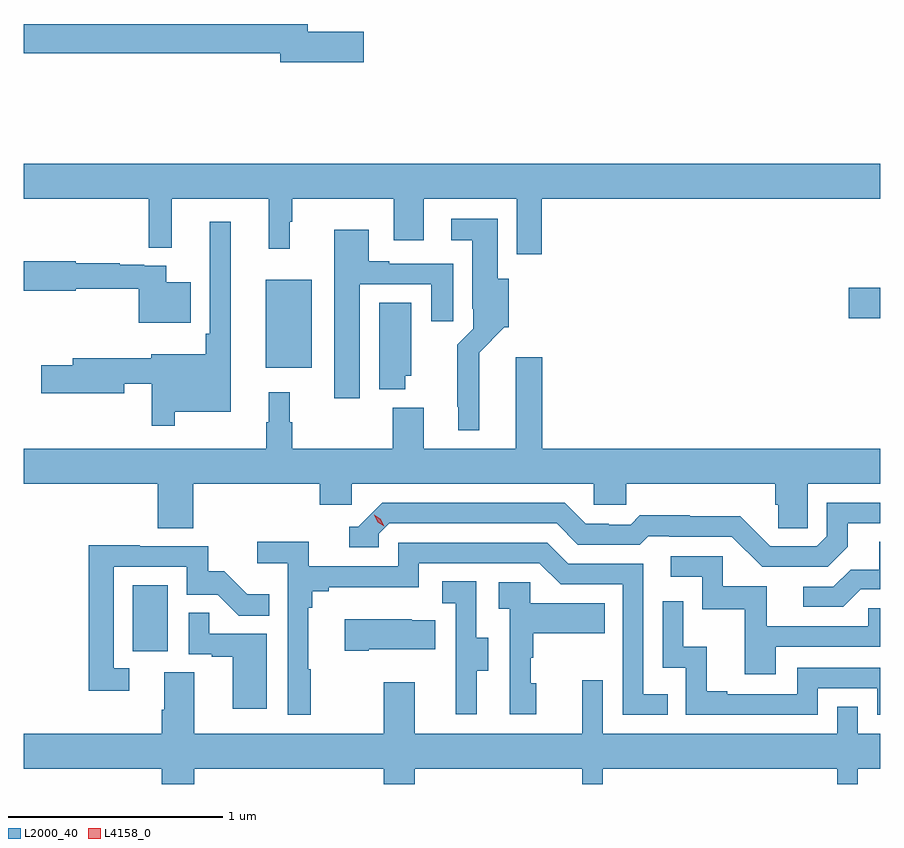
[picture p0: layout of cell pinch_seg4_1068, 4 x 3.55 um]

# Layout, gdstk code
import gdstk
lib = gdstk.Library(unit=1e-6, precision=1e-09)
def R(c, l, rs):  # rectangles x0, y0, x1, y1
    for r in rs: c.add(gdstk.rectangle(r[:2], r[2:], *l))
def P(c, l, *ps):  # polygons
    for p in ps: c.add(gdstk.Polygon(p, *l))
L2000_40 = (2000, 40)
L4158_0 = (4158, 0)

pinch_seg4_1068 = lib.new_cell('pinch_seg4_1068')
R(pinch_seg4_1068, L2000_40, [(875.498,750.75,875.662,751.057), (876.119,752.075,876.334,752.485), (878.844,752.306,878.99,752.448)])
P(pinch_seg4_1068, L2000_40, [(876.577,753.644),(876.316,753.644),(876.316,753.68),(874.99,753.68),(874.99,753.544),(876.188,753.544),(876.188,753.502),(876.577,753.502)],
  [(877.409,752.864),(878.99,752.864),(878.99,753.028),(874.99,753.028),(874.99,752.864),(875.572,752.864),(875.572,752.635),(875.681,752.635),(875.681,752.864),(876.134,752.864),(876.134,752.631),(876.233,752.631),(876.233,752.756),(876.244,752.756),(876.244,752.864),(876.719,752.864),(876.719,752.67),(876.859,752.67),(876.859,752.864),(877.293,752.864),(877.293,752.604),(877.409,752.604)],
  [(877.117,752.144),(877.235,752.262),(877.255,752.262),(877.255,752.49),(877.204,752.49),(877.204,752.77),(876.987,752.77),(876.987,752.669),(877.085,752.669),(877.085,752.35),(877.089,752.35),(877.089,752.256),(877.015,752.182),(877.015,751.891),(877.019,751.891),(877.019,751.781),(877.117,751.781)],
  [(875.695,751.868),(875.956,751.868),(875.956,752.755),(875.859,752.755),(875.859,752.233),(875.839,752.233),(875.839,752.137),(875.585,752.137),(875.585,752.119),(875.219,752.119),(875.219,752.085),(875.07,752.085),(875.07,751.955),(875.458,751.955),(875.458,751.998),(875.586,751.998),(875.586,751.803),(875.695,751.803)],
  [(876.559,752.463),(876.893,752.463),(876.893,752.292),(876.997,752.292),(876.997,752.559),(876.697,752.559),(876.697,752.572),(876.601,752.572),(876.601,752.719),(876.44,752.719),(876.44,751.932),(876.559,751.932)],
  [(875.77,752.473),(875.656,752.473),(875.656,752.55),(875.552,752.55),(875.552,752.556),(875.438,752.556),(875.438,752.563),(875.232,752.563),(875.232,752.571),(874.99,752.571),(874.99,752.434),(875.232,752.434),(875.232,752.442),(875.527,752.442),(875.527,752.285),(875.77,752.285)],
  [(876.772,752.037),(876.799,752.037),(876.799,752.378),(876.65,752.378),(876.65,751.973),(876.772,751.973)],
  [(875.78,751.532),(876.371,751.532),(876.371,751.434),(876.522,751.434),(876.522,751.532),(877.653,751.532),(877.653,751.434),(877.803,751.434),(877.803,751.532),(878.501,751.532),(878.501,751.434),(878.515,751.434),(878.515,751.324),(878.652,751.324),(878.652,751.532),(878.99,751.532),(878.99,751.696),(877.412,751.696),(877.412,752.122),(877.289,752.122),(877.289,751.696),(876.859,751.696),(876.859,751.888),(876.712,751.888),(876.712,751.696),(876.244,751.696),(876.244,751.82),(876.233,751.82),(876.233,751.96),(876.134,751.96),(876.134,751.82),(876.123,751.82),(876.123,751.696),(874.99,751.696),(874.99,751.532),(875.615,751.532),(875.615,751.324),(875.78,751.324)],
  [(878.839,751.237),(878.839,751.347),(878.99,751.347),(878.99,751.443),(878.742,751.443),(878.742,751.287),(878.694,751.239),(878.478,751.239),(878.336,751.381),(878.1,751.381),(878.1,751.384),(877.867,751.384),(877.825,751.341),(877.722,751.341),(877.722,751.344),(877.615,751.344),(877.516,751.443),(876.663,751.443),(876.552,751.332),(876.509,751.332),(876.509,751.236),(876.648,751.236),(876.648,751.299),(876.696,751.347),(877.479,751.347),(877.578,751.248),(877.867,751.248),(877.906,751.287),(878.005,751.287),(878.005,751.284),(878.298,751.284),(878.439,751.143),(878.745,751.143)],
  [(876.331,750.665),(876.319,750.665),(876.319,750.953),(876.338,750.953),(876.338,751.03),(876.415,751.03),(876.415,751.049),(876.834,751.049),(876.834,751.161),(877.398,751.161),(877.497,751.062),(877.788,751.062),(877.788,750.453),(877.997,750.453),(877.997,750.549),(877.884,750.549),(877.884,751.158),(877.534,751.158),(877.435,751.257),(876.738,751.257),(876.738,751.146),(876.32,751.146),(876.32,751.262),(876.081,751.262),(876.081,751.16),(876.222,751.16),(876.222,750.453),(876.331,750.453)],
  [(878.899,751.038),(878.99,751.038),(878.99,751.262),(878.987,751.262),(878.987,751.13),(878.852,751.13),(878.772,751.05),(878.631,751.05),(878.631,750.957),(878.818,750.957)],
  [(875.482,750.669),(875.409,750.669),(875.409,751.143),(875.751,751.143),(875.751,751.014),(875.895,751.014),(875.993,750.916),(876.137,750.916),(876.137,751.015),(876.033,751.015),(875.926,751.122),(875.85,751.122),(875.85,751.239),(875.531,751.239),(875.531,751.244),(875.293,751.244),(875.293,750.564),(875.482,750.564)],
  [(878.503,750.771),(878.99,750.771),(878.99,750.951),(878.935,750.951),(878.935,750.867),(878.461,750.867),(878.461,751.053),(878.256,751.053),(878.256,751.194),(878.013,751.194),(878.013,751.098),(878.16,751.098),(878.16,750.945),(878.359,750.945),(878.359,750.642),(878.503,750.642)],
  [(877.105,750.658),(877.159,750.658),(877.159,750.813),(877.104,750.813),(877.104,751.076),(876.945,751.076),(876.945,750.973),(877.008,750.973),(877.008,750.669),(877.007,750.669),(877.007,750.456),(877.105,750.456)],
  [(877.384,750.6),(877.359,750.6),(877.359,750.719),(877.369,750.719),(877.369,750.833),(877.703,750.833),(877.703,750.973),(877.356,750.973),(877.356,751.071),(877.209,751.071),(877.209,750.947),(877.26,750.947),(877.26,750.456),(877.384,750.456)],
  [(878.7,750.576),(878.976,750.576),(878.976,750.453),(878.99,750.453),(878.99,750.672),(878.604,750.672),(878.604,750.549),(878.275,750.549),(878.275,750.562),(878.18,750.562),(878.18,750.77),(878.07,750.77),(878.07,750.982),(877.974,750.982),(877.974,750.672),(878.082,750.672),(878.082,750.453),(878.7,750.453)],
  [(876.124,750.831),(875.855,750.831),(875.855,750.929),(875.76,750.929),(875.76,750.735),(875.867,750.735),(875.867,750.723),(875.966,750.723),(875.966,750.48),(876.124,750.48)],
  [(876.601,750.758),(876.911,750.758),(876.911,750.895),(876.803,750.895),(876.803,750.898),(876.489,750.898),(876.489,750.751),(876.601,750.751)],
  [(878.79,750.491),(878.79,750.364),(877.695,750.364),(877.695,750.613),(877.598,750.613),(877.598,750.364),(876.817,750.364),(876.817,750.604),(876.67,750.604),(876.67,750.364),(875.785,750.364),(875.785,750.65),(875.645,750.65),(875.645,750.476),(875.633,750.476),(875.633,750.364),(874.99,750.364),(874.99,750.2),(875.633,750.2),(875.633,750.129),(875.785,750.129),(875.785,750.2),(876.67,750.2),(876.67,750.129),(876.817,750.129),(876.817,750.2),(877.598,750.2),(877.598,750.129),(877.695,750.129),(877.695,750.2),(878.79,750.2),(878.79,750.129),(878.886,750.129),(878.886,750.2),(878.99,750.2),(878.99,750.364),(878.886,750.364),(878.886,750.491)])
P(pinch_seg4_1068, L4158_0, [(876.673,751.334),(876.642,751.353),(876.626,751.386),(876.626,751.386),(876.627,751.386),(876.657,751.366),(876.673,751.334),(876.673,751.334)])

lib.write_gds('pinch_seg4_1068.gds')
